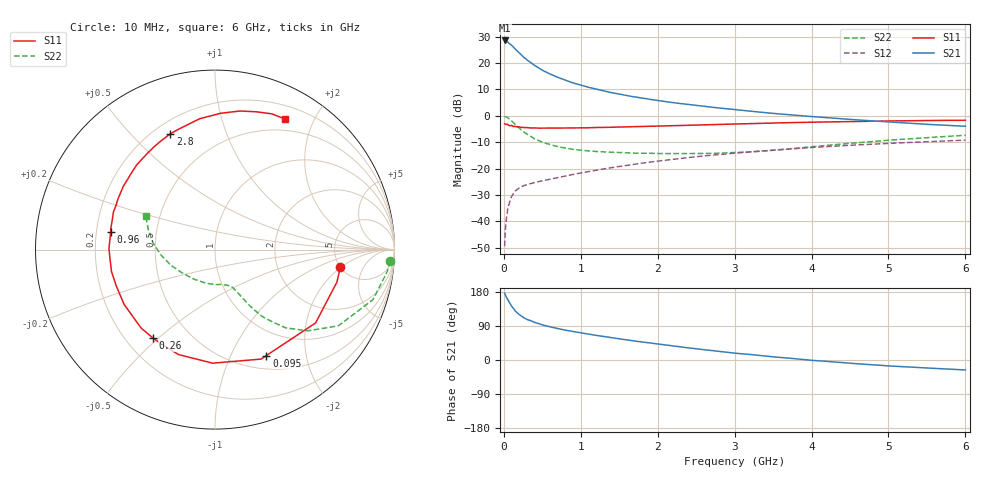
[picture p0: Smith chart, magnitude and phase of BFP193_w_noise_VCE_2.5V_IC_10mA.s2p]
! Infineon Technologies  Discrete & RF Semiconductors
! BFP193
! VCE = 2.5 V,  IC =  10 mA
! Common Emitter S-Parameters:  Jan 2016
# GHz  S  MA  R  50
!  f  S11  S21  S12  S22
! GHz  MAG  ANG  MAG  ANG  MAG  ANG  MAG  ANG
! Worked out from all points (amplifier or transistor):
!   210 points, 10 MHz to 6 GHz, reference 50 ohm
!   highest |S21| = 28.6 dB at 10 MHz (marker M1)
!   |S21| within 3 dB of that: start of sweep to 139.9 MHz
!   unconditionally stable (mu >= 1): 974.1 MHz to 3.669 GHz
!   at 185 MHz: K = 0.33, MSG = 26.0 dB, |S12| = -27.7 dB
!   at 1.52 GHz: K = 1.09, MAG = 11.8 dB, |S12| = -19.1 dB
!   at 6 GHz: K = 0.91, MSG = 2.6 dB, |S12| = -9.2 dB
!   lowest NFmin = 1.30 dB at 450 MHz
!   S11 on the Smith chart (normalised r, x): 10 MHz: 5.02, -1.94; 95 MHz: 0.66, -1.38; 260 MHz: 0.31, -0.48; 960 MHz: 0.26, +0.08; 2.8 GHz: 0.26, +0.65; 6 GHz: 0.35, +1.61
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0.01  0.7055 -7.9  26.85 176.4  0.0034 84.8  0.976 -3.7
0.02  0.7028 -15.0  26.24 170.9  0.0069 82.9  0.9678 -7.2
0.05  0.6936 -36.1  25.14 159.1  0.0169 74.0  0.9233 -17.6
0.095  0.656 -64.1  22.12 144.2  0.0282 62.7  0.8171 -30.1
0.1  0.6618 -67.2  21.89 142.3  0.0295 62.0  0.808 -31.7
0.15  0.6329 -91.2  18.4 128.9  0.0379 52.6  0.6856 -41.3
0.2  0.6191 -109.2  15.63 119.8  0.043 47.6  0.5877 -47.9
0.26  0.6019 -124.9  12.88 111.5  0.0477 44.0  0.496 -52.5
0.3  0.6004 -133.3  11.5 107.1  0.0499 42.7  0.4518 -55.0
0.4  0.5913 -149.0  9.033 99.2  0.0547 42.2  0.3677 -58.3
0.5  0.5862 -159.6  7.331 92.7  0.0589 42.5  0.3172 -60.1
0.6  0.5896 -168.0  6.207 87.4  0.0634 43.3  0.2848 -61.4
0.7  0.5877 -175.4  5.382 82.7  0.0677 44.3  0.2615 -62.8
0.96  0.5899 170.5  3.971 73.0  0.0808 46.8  0.2269 -65.9
1.02  0.5926 167.6  3.749 70.9  0.0837 47.2  0.2222 -66.9
1.4  0.6095 152.5  2.751 58.9  0.1039 48.3  0.2054 -74.1
2.02  0.6434 132.1  1.935 41.8  0.1402 46.7  0.193 -91.0
2.8  0.6912 111.1  1.409 22.7  0.1853 41.1  0.1966 -118.3
3.1  0.7063 104.5  1.271 16.4  0.202 38.4  0.2047 -129.6
4.1  0.7639 86.0  0.947 -2.2  0.2567 28.7  0.268 -163.6
5.1  0.8043 72.2  0.753 -16.6  0.3057 18.2  0.3533 171.8
6  0.8253 62.0  0.636 -26.3  0.3468 8.3  0.4286 154.2
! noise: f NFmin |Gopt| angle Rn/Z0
0.45  1.3  0.22  143  0.11
0.9  1.3  0.34  160  0.11
1.8  2.05  0.54  -153  0.14
